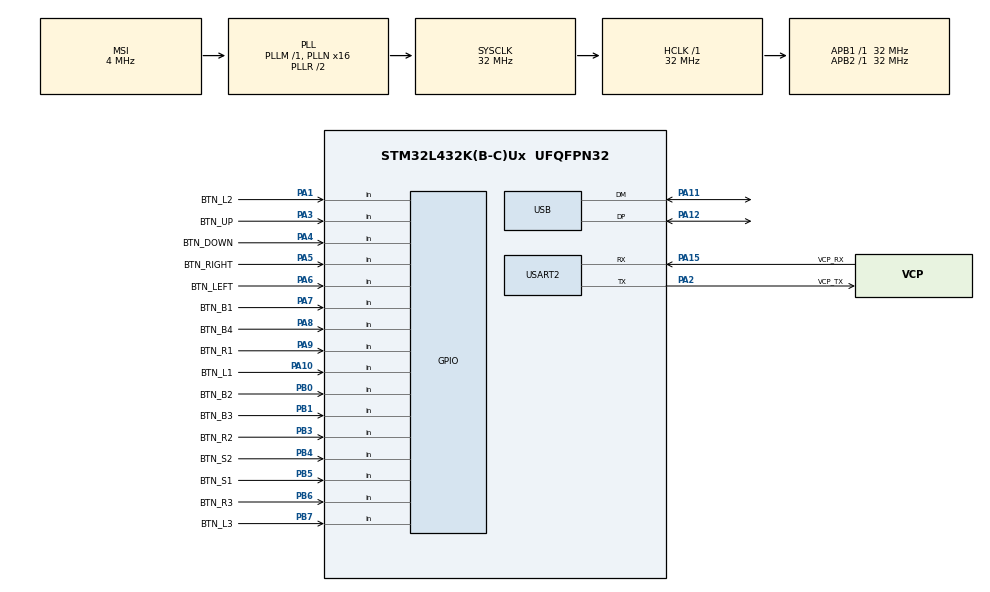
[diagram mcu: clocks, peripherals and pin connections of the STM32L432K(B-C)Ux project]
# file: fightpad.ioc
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Mcu.Family=STM32L4
Mcu.Name=STM32L432K(B-C)Ux
Mcu.Package=UFQFPN32
NVIC.PriorityGroup=NVIC_PRIORITYGROUP_4
NVIC.TIM6_DAC_IRQn=true\:0\:0\:false\:false\:true\:true\:true\:true
NVIC.USB_IRQn=true\:0\:0\:false\:false\:true\:false\:true\:true
PA0.GPIO_Label=MCO [High speed clock in]
PA0.Mode=HSE-External-Clock-Source-for-LittleOrca
PA0.Signal=RCC_CK_IN
PA1.GPIO_Label=BTN_L2
PA1.GPIO_PuPd=GPIO_PULLDOWN
PA1.Signal=GPIO_Input
PA10.GPIO_Label=BTN_L1
PA10.GPIO_PuPd=GPIO_PULLDOWN
PA10.Signal=GPIO_Input
PA11.Mode=Device
PA11.Signal=USB_DM
PA12.Mode=Device
PA12.Signal=USB_DP
PA13\ (JTMS-SWDIO).GPIO_Label=SWDIO
PA13\ (JTMS-SWDIO).Mode=Serial_Wire
PA13\ (JTMS-SWDIO).Signal=SYS_JTMS-SWDIO
PA14\ (JTCK-SWCLK).GPIO_Label=SWCLK
PA14\ (JTCK-SWCLK).Mode=Serial_Wire
PA14\ (JTCK-SWCLK).Signal=SYS_JTCK-SWCLK
PA15\ (JTDI).GPIO_Label=VCP_RX
PA15\ (JTDI).Mode=Asynchronous
PA15\ (JTDI).Signal=USART2_RX
PA2.GPIO_Label=VCP_TX
PA2.Mode=Asynchronous
PA2.Signal=USART2_TX
PA3.GPIO_Label=BTN_UP
PA3.GPIO_PuPd=GPIO_PULLDOWN
PA3.Signal=GPIO_Input
PA4.GPIO_Label=BTN_DOWN
PA4.GPIO_PuPd=GPIO_PULLDOWN
PA4.Signal=GPIO_Input
PA5.GPIO_Label=BTN_RIGHT
PA5.GPIO_PuPd=GPIO_PULLDOWN
PA5.Signal=GPIO_Input
PA6.GPIO_Label=BTN_LEFT
PA6.GPIO_PuPd=GPIO_PULLDOWN
PA6.Signal=GPIO_Input
PA7.GPIO_Label=BTN_B1
PA7.GPIO_PuPd=GPIO_PULLDOWN
PA7.Signal=GPIO_Input
PA8.GPIO_Label=BTN_B4
PA8.GPIO_PuPd=GPIO_PULLDOWN
PA8.Signal=GPIO_Input
PA9.GPIO_Label=BTN_R1
PA9.GPIO_PuPd=GPIO_PULLDOWN
PA9.Signal=GPIO_Input
PB0.GPIO_Label=BTN_B2
PB0.GPIO_PuPd=GPIO_PULLDOWN
PB0.Signal=GPIO_Input
PB1.GPIO_Label=BTN_B3
PB1.GPIO_PuPd=GPIO_PULLDOWN
PB1.Signal=GPIO_Input
PB3\ (JTDO-TRACESWO).GPIO_Label=BTN_R2
PB3\ (JTDO-TRACESWO).GPIO_PuPd=GPIO_PULLDOWN
PB3\ (JTDO-TRACESWO).Signal=GPIO_Input
PB4\ (NJTRST).GPIO_Label=BTN_S2
PB4\ (NJTRST).GPIO_PuPd=GPIO_PULLDOWN
PB4\ (NJTRST).Signal=GPIO_Input
PB5.GPIO_Label=BTN_S1
PB5.GPIO_PuPd=GPIO_PULLDOWN
PB5.Signal=GPIO_Input
PB6.GPIO_Label=BTN_R3
PB6.GPIO_PuPd=GPIO_PULLDOWN
PB6.Signal=GPIO_Input
PB7.GPIO_Label=BTN_L3
PB7.GPIO_PuPd=GPIO_PULLDOWN
PB7.Signal=GPIO_Input
PC14-OSC32_IN\ (PC14).Mode=LSE-External-Oscillator
PC14-OSC32_IN\ (PC14).Signal=RCC_OSC32_IN
PC15-OSC32_OUT\ (PC15).Mode=LSE-External-Oscillator
PC15-OSC32_OUT\ (PC15).Signal=RCC_OSC32_OUT
ProjectManager.HeapSize=0x200
ProjectManager.StackSize=0x400
ProjectManager.TargetToolchain=STM32CubeIDE
RCC.ADCFreq_Value=48000000
RCC.AHBFreq_Value=32000000
RCC.APB1Freq_Value=32000000
RCC.APB1TimFreq_Value=32000000
RCC.APB2Freq_Value=32000000
RCC.APB2TimFreq_Value=32000000
RCC.CortexFreq_Value=32000000
RCC.HCLKFreq_Value=32000000
RCC.HSE_VALUE=8000000
RCC.HSI16_VALUE=16000000
RCC.HSI48_VALUE=48000000
RCC.HSI_VALUE=16000000
RCC.MSI_VALUE=4000000
RCC.PLLMUL=RCC_PLLMUL_4
RCC.PLLN=16
RCC.PLLSAI1N=24
RCC.SYSCLKFreq_VALUE=32000000
RCC.SYSCLKSource=RCC_SYSCLKSOURCE_PLLCLK
RCC.USBFreq_Value=48000000
RCC.VCOOutputFreq_Value=64000000
TIM6.Period=1000-1
TIM6.Prescaler=32-1
USART2.VirtualMode-Asynchronous=VM_ASYNC
USB_DEVICE.CLASS_NAME_FS=HID
USB_DEVICE.HID_FS_BINTERVAL=0x1
USB_DEVICE.MANUFACTURER_STRING=ericslchiang
USB_DEVICE.PRODUCT_STRING_HID_FS=Generic Leverless Controller
USB_DEVICE.VirtualMode=Hid
USB_DEVICE.VirtualModeFS=Hid_FS
VP_TIM6_VS_ClockSourceINT.Mode=Enable_Timer
VP_USB_DEVICE_VS_USB_DEVICE_HID_FS.Mode=HID_FS
board=NUCLEO-L432KC

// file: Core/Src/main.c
/* USER CODE BEGIN Header */
/**
  ******************************************************************************
  * @file           : main.c
  * @brief          : Main program body
  ******************************************************************************
  * @attention
  *
  * Copyright (c) 2025 STMicroelectronics.
  * All rights reserved.
  *
  * This software is licensed under terms that can be found in the LICENSE file
  * in the root directory of this software component.
  * If no LICENSE file comes with this software, it is provided AS-IS.
  *
  ******************************************************************************
  */
/* USER CODE END Header */
#include "main.h"
#include "usb_device.h"

/* USER CODE BEGIN PTD */
typedef struct {
	// digital buttons, 0 = off, 1 = on, definitions below
	uint16_t buttons;

	// Direction value define below
	uint8_t direction : 4;
	// pad the byte out
	uint8_t : 4;

	// analogs --- left stick x/y, right stick x/y
	uint8_t l_x_axis;
	uint8_t l_y_axis;
	uint8_t r_x_axis;
	uint8_t r_y_axis;
} FightpadReport;
/* USER CODE END PTD */

/* USER CODE BEGIN PD */
// HAT report (4 bits)
#define HID_HAT_UP        0x00
#define HID_HAT_UPRIGHT   0x01
#define HID_HAT_RIGHT     0x02
#define HID_HAT_DOWNRIGHT 0x03
#define HID_HAT_DOWN      0x04
#define HID_HAT_DOWNLEFT  0x05
#define HID_HAT_LEFT      0x06
#define HID_HAT_UPLEFT    0x07
#define HID_HAT_NEUTRAL   0x08

// Button Defines
#define HID_BTN_B1 (1 << 0)
#define HID_BTN_B2 (1 << 1)
#define HID_BTN_B3 (1 << 2)
#define HID_BTN_B4 (1 << 3)
#define HID_BTN_L1 (1 << 4)
#define HID_BTN_R1 (1 << 5)
#define HID_BTN_L2 (1 << 6)
#define HID_BTN_R2 (1 << 7)
#define HID_BTN_S1 (1 << 8)
#define HID_BTN_S2 (1 << 9)
#define HID_BTN_L3 (1 << 10)
#define HID_BTN_R3 (1 << 11)

//Control stick axis values
#define HID_AXIS_MIN 0x00
#define HID_AXIS_MID 0x80
#define HID_AXIS_MAX 0xFF
/* USER CODE END PD */

TIM_HandleTypeDef htim6;

UART_HandleTypeDef huart2;

/* USER CODE BEGIN PV */
volatile FightpadReport fightpadReport = {
	.buttons = 0,
	.direction = HID_HAT_NEUTRAL,
	.l_x_axis = HID_AXIS_MID,
	.l_y_axis = HID_AXIS_MID,
	.r_x_axis = HID_AXIS_MID,
	.r_y_axis = HID_AXIS_MID
};
extern USBD_HandleTypeDef hUsbDeviceFS;
volatile uint8_t hidReportDelay = 0;
/* USER CODE END PV */

void SystemClock_Config(void);
static void MX_GPIO_Init(void);
static void MX_USART2_UART_Init(void);
static void MX_TIM6_Init(void);
/* USER CODE BEGIN PFP */
void dpad(void);
void updateButtons(void);
/* USER CODE END PFP */

/* USER CODE BEGIN 0 */
void dpad(void) {
	uint8_t up = HAL_GPIO_ReadPin(BTN_UP_GPIO_Port, BTN_UP_Pin);
	uint8_t down = HAL_GPIO_ReadPin(BTN_DOWN_GPIO_Port, BTN_DOWN_Pin);
	uint8_t left = HAL_GPIO_ReadPin(BTN_LEFT_GPIO_Port, BTN_LEFT_Pin);
	uint8_t right = HAL_GPIO_ReadPin(BTN_RIGHT_GPIO_Port, BTN_RIGHT_Pin);

	// SOCD Neutral
	if (up && down) { up = down = GPIO_PIN_RESET; }
	if (left && right) { left = right = GPIO_PIN_RESET; }

	if (up && right) { fightpadReport.direction = HID_HAT_UPRIGHT; fightpadReport.l_x_axis = HID_AXIS_MAX; fightpadReport.l_y_axis = HID_AXIS_MAX; }
	else if (up && left) { fightpadReport.direction = HID_HAT_UPLEFT; fightpadReport.l_x_axis = HID_AXIS_MIN; fightpadReport.l_y_axis = HID_AXIS_MAX; }
	else if (down && right) { fightpadReport.direction = HID_HAT_DOWNRIGHT; fightpadReport.l_x_axis = HID_AXIS_MAX; fightpadReport.l_y_axis = HID_AXIS_MIN; }
	else if (down && left) { fightpadReport.direction = HID_HAT_DOWNLEFT; fightpadReport.l_x_axis = HID_AXIS_MIN; fightpadReport.l_y_axis = HID_AXIS_MIN; }
	else if (up) { fightpadReport.direction = HID_HAT_UP; fightpadReport.l_x_axis = HID_AXIS_MID; fightpadReport.l_y_axis = HID_AXIS_MAX; }
	else if (down) { fightpadReport.direction = HID_HAT_DOWN; fightpadReport.l_x_axis = HID_AXIS_MID; fightpadReport.l_y_axis = HID_AXIS_MIN; }
	else if (right) { fightpadReport.direction = HID_HAT_RIGHT; fightpadReport.l_x_axis = HID_AXIS_MAX; fightpadReport.l_y_axis = HID_AXIS_MID; }
	else if (left) { fightpadReport.direction = HID_HAT_LEFT; fightpadReport.l_x_axis = HID_AXIS_MIN; fightpadReport.l_y_axis = HID_AXIS_MID; }
	else { fightpadReport.direction = HID_HAT_NEUTRAL; fightpadReport.l_x_axis = HID_AXIS_MID; fightpadReport.l_y_axis = HID_AXIS_MID; }
}

void updateButtons(void) {
	fightpadReport.buttons = 0
		| (HAL_GPIO_ReadPin(BTN_B1_GPIO_Port, BTN_B1_Pin) ? HID_BTN_B2 : 0)
		| (HAL_GPIO_ReadPin(BTN_B2_GPIO_Port, BTN_B2_Pin) ? HID_BTN_B3 : 0)
		| (HAL_GPIO_ReadPin(BTN_B3_GPIO_Port, BTN_B3_Pin) ? HID_BTN_B1 : 0)
		| (HAL_GPIO_ReadPin(BTN_B4_GPIO_Port, BTN_B4_Pin) ? HID_BTN_B4 : 0)
		| (HAL_GPIO_ReadPin(BTN_L1_GPIO_Port, BTN_L1_Pin) ? HID_BTN_L1 : 0)
		| (HAL_GPIO_ReadPin(BTN_R1_GPIO_Port, BTN_R1_Pin) ? HID_BTN_R1 : 0)
		| (HAL_GPIO_ReadPin(BTN_L2_GPIO_Port, BTN_L2_Pin) ? HID_BTN_L2 : 0)
		| (HAL_GPIO_ReadPin(BTN_R2_GPIO_Port, BTN_R2_Pin) ? HID_BTN_R2 : 0)
		| (HAL_GPIO_ReadPin(BTN_S1_GPIO_Port, BTN_S1_Pin) ? HID_BTN_S1 : 0)
		| (HAL_GPIO_ReadPin(BTN_S2_GPIO_Port, BTN_S2_Pin) ? HID_BTN_S2 : 0)
		| (HAL_GPIO_ReadPin(BTN_L3_GPIO_Port, BTN_L3_Pin) ? HID_BTN_L3 : 0)
		| (HAL_GPIO_ReadPin(BTN_R3_GPIO_Port, BTN_R3_Pin) ? HID_BTN_R3 : 0)
	;
}
/* USER CODE END 0 */

int main(void)
{

  /* MCU Configuration--------------------------------------------------------*/

  /* Reset of all peripherals, Initializes the Flash interface and the Systick. */
  HAL_Init();

  /* Configure the system clock */
  SystemClock_Config();

  /* Initialize all configured peripherals */
  MX_GPIO_Init();
  MX_USART2_UART_Init();
  MX_USB_DEVICE_Init();
  MX_TIM6_Init();
  /* USER CODE BEGIN 2 */
  HAL_TIM_Base_Start_IT(&htim6);
  /* USER CODE END 2 */

  /* Infinite loop */
  /* USER CODE BEGIN WHILE */
  while (1)
  {
	  dpad();
	  updateButtons();

	  // Send report
	  while (!hidReportDelay);
	  USBD_HID_SendReport(&hUsbDeviceFS, (uint8_t *) &fightpadReport, 7);
	  hidReportDelay = 0;
    /* USER CODE END WHILE */

  }
}

void SystemClock_Config(void)
{
  RCC_OscInitTypeDef RCC_OscInitStruct = {0};
  RCC_ClkInitTypeDef RCC_ClkInitStruct = {0};

  /** Configure the main internal regulator output voltage
  */
  if (HAL_PWREx_ControlVoltageScaling(PWR_REGULATOR_VOLTAGE_SCALE1) != HAL_OK)
  {
    Error_Handler();
  }

  /** Configure LSE Drive Capability
  */
  HAL_PWR_EnableBkUpAccess();
  __HAL_RCC_LSEDRIVE_CONFIG(RCC_LSEDRIVE_LOW);

  /** Initializes the RCC Oscillators according to the specified parameters
  * in the RCC_OscInitTypeDef structure.
  */
  RCC_OscInitStruct.OscillatorType = RCC_OSCILLATORTYPE_LSE|RCC_OSCILLATORTYPE_MSI;
  RCC_OscInitStruct.LSEState = RCC_LSE_ON;
  RCC_OscInitStruct.MSIState = RCC_MSI_ON;
  RCC_OscInitStruct.MSICalibrationValue = 0;
  RCC_OscInitStruct.MSIClockRange = RCC_MSIRANGE_6;
  RCC_OscInitStruct.PLL.PLLState = RCC_PLL_ON;
  RCC_OscInitStruct.PLL.PLLSource = RCC_PLLSOURCE_MSI;
  RCC_OscInitStruct.PLL.PLLM = 1;
  RCC_OscInitStruct.PLL.PLLN = 16;
  RCC_OscInitStruct.PLL.PLLP = RCC_PLLP_DIV7;
  RCC_OscInitStruct.PLL.PLLQ = RCC_PLLQ_DIV2;
  RCC_OscInitStruct.PLL.PLLR = RCC_PLLR_DIV2;
  if (HAL_RCC_OscConfig(&RCC_OscInitStruct) != HAL_OK)
  {
    Error_Handler();
  }

  /** Initializes the CPU, AHB and APB buses clocks
  */
  RCC_ClkInitStruct.ClockType = RCC_CLOCKTYPE_HCLK|RCC_CLOCKTYPE_SYSCLK
                              |RCC_CLOCKTYPE_PCLK1|RCC_CLOCKTYPE_PCLK2;
  RCC_ClkInitStruct.SYSCLKSource = RCC_SYSCLKSOURCE_PLLCLK;
  RCC_ClkInitStruct.AHBCLKDivider = RCC_SYSCLK_DIV1;
  RCC_ClkInitStruct.APB1CLKDivider = RCC_HCLK_DIV1;
  RCC_ClkInitStruct.APB2CLKDivider = RCC_HCLK_DIV1;

  if (HAL_RCC_ClockConfig(&RCC_ClkInitStruct, FLASH_LATENCY_1) != HAL_OK)
  {
    Error_Handler();
  }

  /** Enable MSI Auto calibration
  */
  HAL_RCCEx_EnableMSIPLLMode();
}

static void MX_TIM6_Init(void)
{

  TIM_MasterConfigTypeDef sMasterConfig = {0};

  htim6.Instance = TIM6;
  htim6.Init.Prescaler = 32-1;
  htim6.Init.CounterMode = TIM_COUNTERMODE_UP;
  htim6.Init.Period = 1000-1;
  htim6.Init.AutoReloadPreload = TIM_AUTORELOAD_PRELOAD_DISABLE;
  if (HAL_TIM_Base_Init(&htim6) != HAL_OK)
  {
    Error_Handler();
  }
  sMasterConfig.MasterOutputTrigger = TIM_TRGO_RESET;
  sMasterConfig.MasterSlaveMode = TIM_MASTERSLAVEMODE_DISABLE;
  if (HAL_TIMEx_MasterConfigSynchronization(&htim6, &sMasterConfig) != HAL_OK)
  {
    Error_Handler();
  }

}

static void MX_USART2_UART_Init(void)
{

  huart2.Instance = USART2;
  huart2.Init.BaudRate = 115200;
  huart2.Init.WordLength = UART_WORDLENGTH_8B;
  huart2.Init.StopBits = UART_STOPBITS_1;
  huart2.Init.Parity = UART_PARITY_NONE;
  huart2.Init.Mode = UART_MODE_TX_RX;
  huart2.Init.HwFlowCtl = UART_HWCONTROL_NONE;
  huart2.Init.OverSampling = UART_OVERSAMPLING_16;
  huart2.Init.OneBitSampling = UART_ONE_BIT_SAMPLE_DISABLE;
  huart2.AdvancedInit.AdvFeatureInit = UART_ADVFEATURE_NO_INIT;
  if (HAL_UART_Init(&huart2) != HAL_OK)
  {
    Error_Handler();
  }

}

static void MX_GPIO_Init(void)
{
  GPIO_InitTypeDef GPIO_InitStruct = {0};

  /* GPIO Ports Clock Enable */
  __HAL_RCC_GPIOC_CLK_ENABLE();
  __HAL_RCC_GPIOA_CLK_ENABLE();
  __HAL_RCC_GPIOB_CLK_ENABLE();

  /*Configure GPIO pins : BTN_L2_Pin BTN_UP_Pin BTN_DOWN_Pin BTN_RIGHT_Pin
                           BTN_LEFT_Pin BTN_B1_Pin BTN_B4_Pin BTN_R1_Pin
                           BTN_L1_Pin */
  GPIO_InitStruct.Pin = BTN_L2_Pin|BTN_UP_Pin|BTN_DOWN_Pin|BTN_RIGHT_Pin
                          |BTN_LEFT_Pin|BTN_B1_Pin|BTN_B4_Pin|BTN_R1_Pin
                          |BTN_L1_Pin;
  GPIO_InitStruct.Mode = GPIO_MODE_INPUT;
  GPIO_InitStruct.Pull = GPIO_PULLDOWN;
  HAL_GPIO_Init(GPIOA, &GPIO_InitStruct);

  /*Configure GPIO pins : BTN_B2_Pin BTN_B3_Pin BTN_R2_Pin BTN_S2_Pin
                           BTN_S1_Pin BTN_R3_Pin BTN_L3_Pin */
  GPIO_InitStruct.Pin = BTN_B2_Pin|BTN_B3_Pin|BTN_R2_Pin|BTN_S2_Pin
                          |BTN_S1_Pin|BTN_R3_Pin|BTN_L3_Pin;
  GPIO_InitStruct.Mode = GPIO_MODE_INPUT;
  GPIO_InitStruct.Pull = GPIO_PULLDOWN;
  HAL_GPIO_Init(GPIOB, &GPIO_InitStruct);

}

/* USER CODE BEGIN 4 */
void HAL_TIM_PeriodElapsedCallback(TIM_HandleTypeDef *htim) {
	if (htim == &htim6) {
		hidReportDelay = 1;
	}

}
/* USER CODE END 4 */

void Error_Handler(void)
{
  __disable_irq();
  while (1)
  {
  }
}
